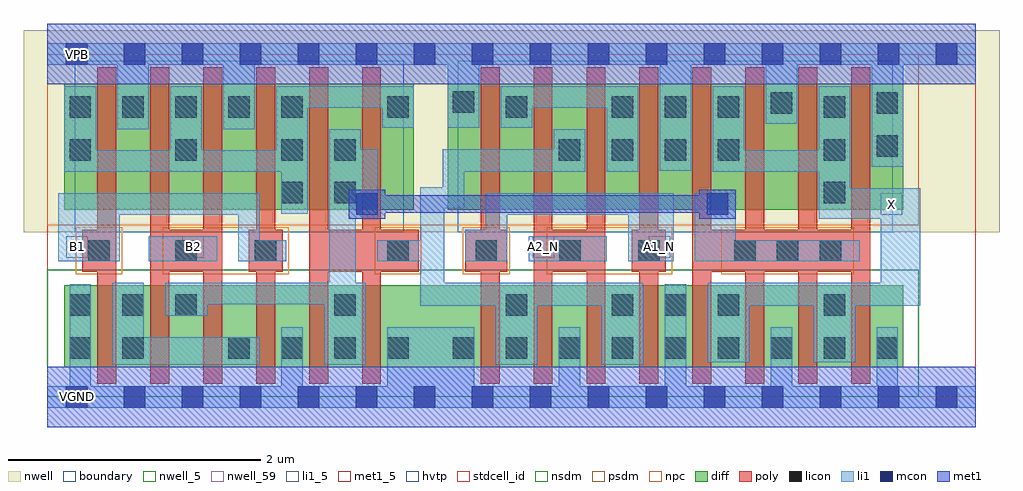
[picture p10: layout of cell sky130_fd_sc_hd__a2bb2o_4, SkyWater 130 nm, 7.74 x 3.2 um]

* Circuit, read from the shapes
.subckt sky130_fd_sc_hd__a2bb2o_4 A1_N A2_N B1 B2 VGND VNB VPB VPWR X
XM1 n1 B1 VGND VNB sky130_fd_pr__nfet_01v8 w=0.65 l=0.15 m=2
XM2 n2 B2 n1 VNB sky130_fd_pr__nfet_01v8 w=0.65 l=0.15 m=2
XM3 n2 n3 VGND VNB sky130_fd_pr__nfet_01v8 w=0.65 l=0.15 m=2
XM4 n3 A1_N VGND VNB sky130_fd_pr__nfet_01v8 w=0.65 l=0.15 m=2
XM5 VGND A2_N n3 VNB sky130_fd_pr__nfet_01v8 w=0.65 l=0.15 m=2
XM6 X n2 VGND VNB sky130_fd_pr__nfet_01v8 w=0.65 l=0.15 m=4
XM7 VPWR B1 n4 VPB sky130_fd_pr__pfet_01v8_hvt w=1 l=0.15 m=2
XM8 n4 B2 VPWR VPB sky130_fd_pr__pfet_01v8_hvt w=1 l=0.15 m=2
XM9 n2 n3 n4 VPB sky130_fd_pr__pfet_01v8_hvt w=1 l=0.15 m=2
XM10 n5 A1_N VPWR VPB sky130_fd_pr__pfet_01v8_hvt w=1 l=0.15 m=2
XM11 n3 A2_N n5 VPB sky130_fd_pr__pfet_01v8_hvt w=1 l=0.15 m=2
XM12 X n2 VPWR VPB sky130_fd_pr__pfet_01v8_hvt w=1 l=0.15 m=4
.ends

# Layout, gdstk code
import gdstk
lib = gdstk.Library(unit=1e-6, precision=1e-09)
def R(c, l, rs):  # rectangles x0, y0, x1, y1
    for r in rs: c.add(gdstk.rectangle(r[:2], r[2:], *l))
def A(c, l, x, y, w, h, nx, ny, dx, dy):  # array of equal rectangles
    R(c, l, [(x+i*dx, y+j*dy, x+i*dx+w, y+j*dy+h) for i in range(nx) for j in range(ny)])
nwell_5 = (64, 5)
nwell = (64, 20)
nwell_59 = (64, 59)
diff = (65, 20)
poly = (66, 20)
licon = (66, 44)
li1_5 = (67, 5)
li1 = (67, 20)
mcon = (67, 44)
met1_5 = (68, 5)
met1 = (68, 20)
hvtp = (78, 44)
stdcell_id = (81, 4)
nsdm = (93, 44)
psdm = (94, 20)
npc = (95, 20)
boundary = (235, 4)

sky130_fd_sc_hd__a2bb2o_ = lib.new_cell('sky130_fd_sc_hd__a2bb2o_4')
R(sky130_fd_sc_hd__a2bb2o_, nwell_5, [(0.15,2.635,0.32,2.805)])
R(sky130_fd_sc_hd__a2bb2o_, nwell, [(-0.19,1.305,7.55,2.91)])
R(sky130_fd_sc_hd__a2bb2o_, nwell_59, [(0.15,-0.085,0.32,0.085)])
R(sky130_fd_sc_hd__a2bb2o_, diff, [(0.135,0.235,6.785,0.885), (0.135,1.485,2.905,2.485), (3.175,1.485,6.785,2.485)])
A(sky130_fd_sc_hd__a2bb2o_, poly, 0.395, 0.105, 0.15, 0.89, 6, 1, 0.42, 0)
A(sky130_fd_sc_hd__a2bb2o_, poly, 3.435, 0.105, 0.15, 0.89, 8, 1, 0.42, 0)
A(sky130_fd_sc_hd__a2bb2o_, poly, 0.395, 1.325, 0.15, 1.29, 6, 1, 0.42, 0)
A(sky130_fd_sc_hd__a2bb2o_, poly, 3.435, 1.325, 0.15, 1.29, 8, 1, 0.42, 0)
R(sky130_fd_sc_hd__a2bb2o_, poly, [(0.275,0.995,0.545,1.325), (0.815,0.995,1.385,1.325), (1.595,0.995,1.865,1.325), (2.075,0.995,2.945,1.325), (3.315,0.995,3.645,1.325), (3.855,0.995,4.425,1.325), (4.635,0.995,4.905,1.325), (5.115,0.995,6.525,1.325)])
A(sky130_fd_sc_hd__a2bb2o_, licon, 1.435, 0.305, 0.17, 0.17, 4, 1, 0.42, 0)
A(sky130_fd_sc_hd__a2bb2o_, licon, 3.215, 0.305, 0.17, 0.17, 9, 1, 0.42, 0)
A(sky130_fd_sc_hd__a2bb2o_, licon, 0.175, 0.645, 0.17, 0.17, 3, 1, 0.42, 0)
A(sky130_fd_sc_hd__a2bb2o_, licon, 4.475, 0.645, 0.17, 0.17, 3, 2, 0.42, 1.57)
A(sky130_fd_sc_hd__a2bb2o_, licon, 5.445, 1.075, 0.17, 0.17, 3, 1, 0.34, 0)
A(sky130_fd_sc_hd__a2bb2o_, licon, 6.155, 1.535, 0.17, 0.17, 1, 3, 0, 0.34)
A(sky130_fd_sc_hd__a2bb2o_, licon, 0.175, 1.875, 0.17, 0.17, 3, 1, 0.84, 0)
A(sky130_fd_sc_hd__a2bb2o_, licon, 4.055, 1.875, 0.17, 0.17, 4, 1, 0.42, 0)
A(sky130_fd_sc_hd__a2bb2o_, licon, 0.175, 2.215, 0.17, 0.17, 5, 1, 0.42, 0)
R(sky130_fd_sc_hd__a2bb2o_, licon, [(0.175,0.305,0.345,0.475), (0.595,0.305,0.765,0.475), (2.275,0.645,2.445,0.815), (3.635,0.645,3.805,0.815), (6.155,0.645,6.325,0.815), (0.325,1.075,0.495,1.245), (1.015,1.075,1.185,1.245), (1.645,1.075,1.815,1.245), (2.695,1.075,2.865,1.245), (3.395,1.075,3.565,1.245), (4.06,1.075,4.23,1.245), (4.685,1.075,4.855,1.245), (1.855,1.535,2.025,1.705), (2.275,1.535,2.445,1.705), (2.275,1.875,2.445,2.045), (6.575,1.905,6.745,2.075), (2.695,2.215,2.865,2.385), (3.635,2.215,3.805,2.385), (5.735,2.245,5.905,2.415), (6.575,2.245,6.745,2.415), (3.215,2.255,3.385,2.425)])
R(sky130_fd_sc_hd__a2bb2o_, li1_5, [(0.15,1.105,0.32,1.275), (1.07,1.105,1.24,1.275), (3.85,1.105,4.02,1.275), (4.77,1.105,4.94,1.275), (6.61,1.445,6.78,1.615)])
R(sky130_fd_sc_hd__a2bb2o_, li1, [(0,-0.085,7.36,0.085), (0.175,0.085,0.345,0.895), (1.855,0.085,2.025,0.555), (2.695,0.085,3.385,0.555), (4.055,0.085,4.225,0.555), (4.895,0.085,5.065,0.895), (5.735,0.085,5.905,0.555), (6.575,0.085,6.745,0.555), (0.515,0.255,1.685,0.475), (2.195,0.255,2.525,0.735), (3.555,0.255,3.885,0.725), (4.395,0.255,4.725,0.725), (5.235,0.275,5.565,0.725), (6.075,0.275,6.405,0.725), (0.515,0.475,0.765,0.905), (0.935,0.645,1.27,0.735), (2.955,0.725,4.725,0.905), (5.235,0.725,6.92,0.905), (0.935,0.735,2.525,0.905), (2.235,0.905,2.445,1.415), (2.955,0.905,3.145,1.075), (6.61,0.905,6.92,1.415), (0.085,1.075,0.575,1.445), (0.805,1.075,1.345,1.275), (1.515,1.075,1.895,1.245), (2.615,1.075,3.145,1.245), (3.315,1.075,3.645,1.325), (3.815,1.075,4.435,1.275), (4.605,1.075,4.965,1.445), (5.135,1.075,6.44,1.245), (1.515,1.245,1.685,1.445), (2.955,1.245,3.145,1.495), (5.135,1.245,5.46,1.615), (3.475,1.325,3.645,1.445), (2.235,1.415,2.62,1.965), (6.115,1.415,6.92,1.655), (0.085,1.445,1.685,1.615), (3.475,1.445,4.965,1.615), (1.855,1.455,2.065,1.785), (2.955,1.495,3.305,1.665), (6.115,1.655,6.365,1.785), (3.135,1.665,3.305,1.785), (0.135,1.785,2.065,1.955), (3.135,1.785,4.265,1.965), (4.435,1.785,4.685,2.295), (5.275,1.785,6.365,1.955), (4.855,1.795,5.105,2.635), (6.535,1.825,6.785,2.635), (0.135,1.955,0.385,2.465), (0.975,1.955,1.225,2.465), (1.815,1.955,2.065,2.295), (5.275,1.955,5.525,2.465), (6.115,1.955,6.365,2.465), (2.235,1.965,2.485,2.125), (4.015,1.965,4.265,2.125), (0.555,2.125,0.805,2.635), (1.395,2.125,1.645,2.635), (2.655,2.135,2.905,2.295), (3.175,2.135,3.425,2.635), (3.595,2.135,3.845,2.295), (5.695,2.165,5.945,2.635), (1.815,2.295,2.905,2.465), (3.595,2.295,4.685,2.465), (0,2.635,7.36,2.805)])
A(sky130_fd_sc_hd__a2bb2o_, mcon, 0.145, -0.085, 0.17, 0.17, 16, 2, 0.46, 2.72)
R(sky130_fd_sc_hd__a2bb2o_, mcon, [(2.45,1.445,2.62,1.615), (5.23,1.445,5.4,1.615)])
R(sky130_fd_sc_hd__a2bb2o_, met1_5, [(0.15,-0.085,0.32,0.085), (0.15,2.635,0.32,2.805)])
R(sky130_fd_sc_hd__a2bb2o_, met1, [(0,-0.24,7.36,0.24), (2.39,1.415,2.68,1.46), (5.17,1.415,5.46,1.46), (2.39,1.46,5.46,1.6), (2.39,1.6,2.68,1.645), (5.17,1.6,5.46,1.645), (0,2.48,7.36,2.96)])
R(sky130_fd_sc_hd__a2bb2o_, hvtp, [(0.215,1.305,2.825,2.665), (3.255,1.305,6.705,2.665)])
R(sky130_fd_sc_hd__a2bb2o_, stdcell_id, [(0,0,7.36,2.72)])
R(sky130_fd_sc_hd__a2bb2o_, nsdm, [(0,0,6.91,1.01)])
R(sky130_fd_sc_hd__a2bb2o_, psdm, [(0,1.36,6.91,2.72)])
R(sky130_fd_sc_hd__a2bb2o_, npc, [(0.225,0.975,0.595,1.345), (0.915,0.975,1.915,1.345), (2.595,0.975,2.965,1.345), (3.295,0.975,3.665,1.345), (3.96,0.975,4.955,1.345), (5.345,0.975,6.395,1.345)])
R(sky130_fd_sc_hd__a2bb2o_, boundary, [(0,0,7.36,2.72)])
sky130_fd_sc_hd__a2bb2o_.add(gdstk.Label('A1_N', (4.855,1.19), layer=67, texttype=5))
sky130_fd_sc_hd__a2bb2o_.add(gdstk.Label('A2_N', (3.935,1.19), layer=67, texttype=5))
sky130_fd_sc_hd__a2bb2o_.add(gdstk.Label('B1', (0.235,1.19), layer=67, texttype=5))
sky130_fd_sc_hd__a2bb2o_.add(gdstk.Label('B2', (1.155,1.19), layer=67, texttype=5))
sky130_fd_sc_hd__a2bb2o_.add(gdstk.Label('VGND', (0.235,0), layer=68, texttype=5))
sky130_fd_sc_hd__a2bb2o_.add(gdstk.Label('VNB', (0.235,0), layer=64, texttype=59))
sky130_fd_sc_hd__a2bb2o_.add(gdstk.Label('VPB', (0.235,2.72), layer=64, texttype=5))
sky130_fd_sc_hd__a2bb2o_.add(gdstk.Label('VPWR', (0.235,2.72), layer=68, texttype=5))
sky130_fd_sc_hd__a2bb2o_.add(gdstk.Label('X', (6.695,1.53), layer=67, texttype=5))

lib.write_gds('sky130_fd_sc_hd__a2bb2o_4.gds')
